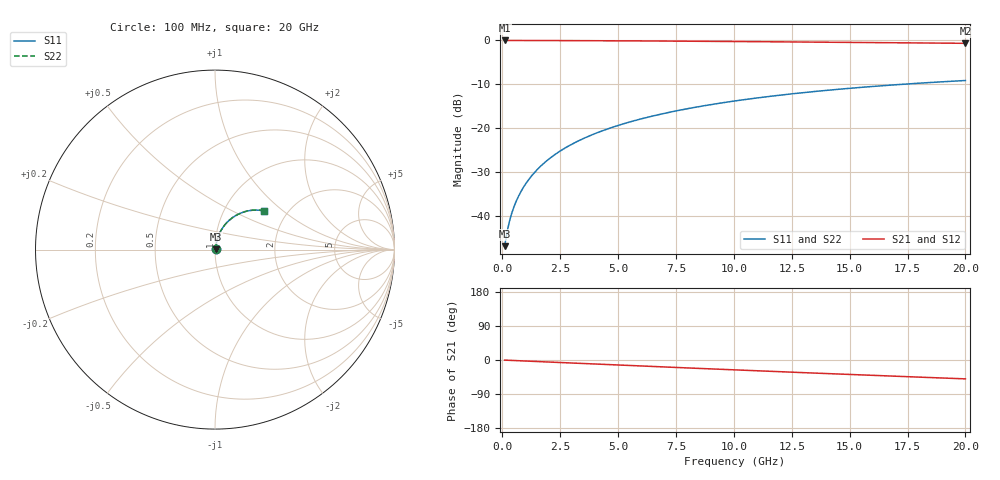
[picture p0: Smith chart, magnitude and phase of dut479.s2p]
! Touchstone file exported from HFSS 2026.1.0
!  File:  C:/ffzhzh/LocalFiles/Ansys_Project_Files/temp_train_TMRDL_479_1783006338_46388.aedt
!  Generated:  11:33:39 PM Jul  2, 2026
!  Design:  TMRDL
!  Project:  temp_train_TMRDL_479_1783006338_46388
! Variables:
!  h_bsmrdl = 2um
!  h_ox = 20um
!  h_rdl = 5um
!  h_sub = 80um
!  h_tmrdl = 3.03um
!  h_tsv = 80um
!  h_via = 3um
!  l_bsmrdl = 300um
!  l_sub = 1190.42um
!  l_tmrdl = 790.42um
!  m_sub = 200um
!  pitch = 45.83um
!  r_tsv = 6um
!  s_tmrdl = 10um
!  w_bsmrdl = 18um
!  w_sub = 500um
!  w_tmrdl = 26.92um
!  x_tsv_center1 = 803.88um
!  x_tsv_center2 = 1121.88um
!  x_tsv_center3 = 1939.22um
!  x_tsv_center4 = 2257.22um
!  x_tsv_center5 = 3074.56um
!  x_tsv_center6 = 3392.56um
# GHz S MA R 50.000000
! Terminal data exported
! Port[1] = TM_RDL1_1_T1
! Port[2] = TM_RDL1_1_T2
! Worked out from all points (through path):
!   200 points, 100 MHz to 20 GHz, reference 50 ohm
!   highest |S21| = -0.03 dB at 100 MHz (marker M1); lowest = -0.7 dB at 20 GHz (marker M2)
!   group delay of S21, straight-line fit = 6.92 ps
!   lowest |S11| = -46.9 dB at 100 MHz (marker M3), VSWR 1.01, Z = 50.4 + j0.257 ohm
!   |S11| at or under -10 dB: start of sweep to 17.34 GHz
!   |S22| runs from -46.9 to -9.2 dB; largest |S21 - S12| = 2.7e-15
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0.1  0.004512 34.5  0.9963 -0.3  0.9963 -0.3  0.004512 34.5
! Gamma 0 0 0 0
! Port Impedance 50 0 50 0
0.2  0.006389 51.3  0.996 -0.6  0.996 -0.6  0.006388 51.3
0.3  0.008464 59.3  0.9958 -0.8  0.9958 -0.8  0.008463 59.3
0.4  0.01054 64.0  0.9955 -1.1  0.9955 -1.1  0.01054 64.0
0.5  0.0126 67.1  0.9953 -1.4  0.9953 -1.4  0.0126 67.1
0.6  0.01465 69.3  0.9951 -1.6  0.9951 -1.6  0.01465 69.3
0.8  0.01878 72.5  0.9949 -2.2  0.9949 -2.2  0.01878 72.5
1.1  0.02504 75.1  0.9946 -3.0  0.9946 -3.0  0.02504 75.1
1.3  0.02925 76.2  0.9944 -3.5  0.9944 -3.5  0.02925 76.2
1.6  0.03561 77.1  0.9941 -4.3  0.9941 -4.3  0.03561 77.1
2.1  0.04626 77.5  0.9935 -5.6  0.9935 -5.6  0.04626 77.5
2.7  0.05903 77.2  0.9925 -7.2  0.9925 -7.2  0.05903 77.2
3.5  0.07596 76.1  0.991 -9.3  0.991 -9.3  0.07595 76.1
4.2  0.09061 74.8  0.9894 -11.1  0.9894 -11.1  0.09061 74.8
5  0.1071 73.1  0.9874 -13.2  0.9874 -13.2  0.1071 73.1
5.9  0.1254 71.0  0.9847 -15.6  0.9847 -15.6  0.1254 71.0
6.8  0.1432 68.9  0.9817 -17.9  0.9817 -17.9  0.1432 68.9
8.3  0.172 65.3  0.9762 -21.7  0.9762 -21.7  0.172 65.3
10.1  0.2048 61.0  0.9689 -26.2  0.9689 -26.2  0.2048 61.0
13.4  0.2597 53.2  0.9543 -34.3  0.9543 -34.3  0.2597 53.2
16.7  0.3077 45.6  0.9392 -42.2  0.9392 -42.2  0.3077 45.6
20  0.3484 38.2  0.9244 -49.8  0.9244 -49.8  0.3484 38.2
